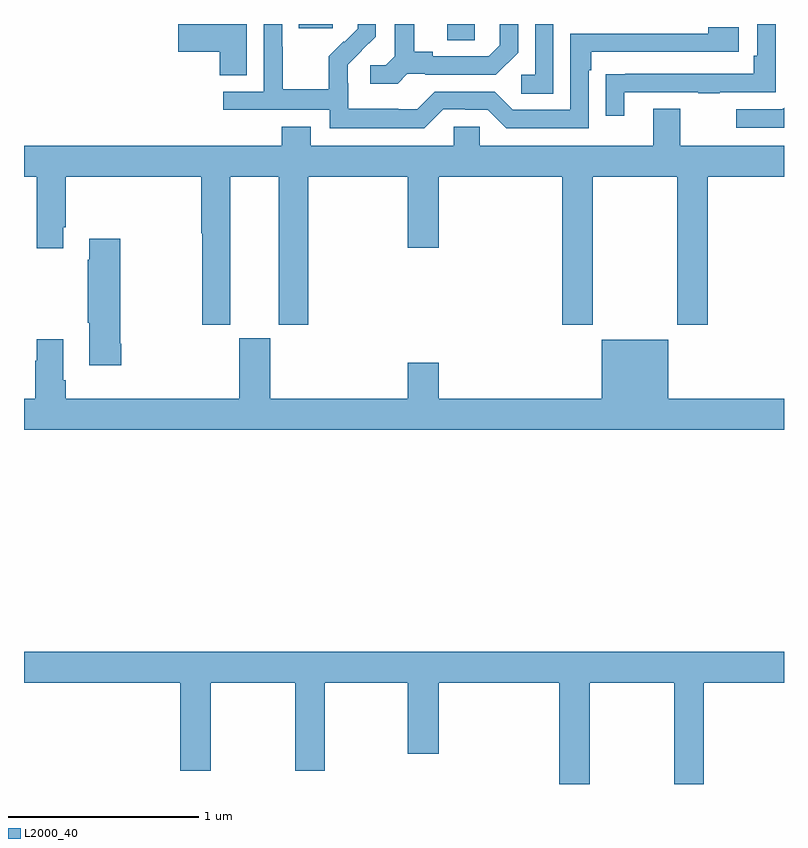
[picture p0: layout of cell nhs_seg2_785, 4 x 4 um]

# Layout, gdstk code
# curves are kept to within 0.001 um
import gdstk
lib = gdstk.Library(unit=1e-6, precision=1e-09)
def R(c, l, rs):  # rectangles x0, y0, x1, y1
    for r in rs: c.add(gdstk.rectangle(r[:2], r[2:], *l))
def P(c, l, *ps):  # polygons
    for p in ps: c.add(gdstk.Polygon(p, *l))
L2000_40 = (2000, 40)

nhs_seg2_785 = lib.new_cell('nhs_seg2_785')
R(nhs_seg2_785, L2000_40, [(153.227,621.715,153.372,621.8), (152.447,621.777,152.626,621.8)])
P(nhs_seg2_785, L2000_40, [(153.018,621.537),(153.112,621.537),(153.112,621.534),(153.484,621.534),(153.6,621.65),(153.6,621.8),(153.503,621.8),(153.503,621.687),(153.446,621.63),(153.151,621.63),(153.151,621.653),(153.055,621.653),(153.055,621.8),(152.951,621.8),(152.951,621.629),(152.904,621.582),(152.823,621.582),(152.823,621.485),(152.966,621.485)],
  [(153.207,621.351),(153.323,621.351),(153.323,621.348),(153.441,621.348),(153.537,621.252),(153.972,621.252),(153.972,621.557),(153.985,621.557),(153.985,621.654),(154.762,621.654),(154.762,621.784),(154.601,621.784),(154.601,621.75),(153.876,621.75),(153.876,621.348),(153.573,621.348),(153.477,621.444),(153.162,621.444),(153.069,621.351),(152.969,621.351),(152.969,621.355),(152.706,621.355),(152.706,621.489),(152.704,621.489),(152.704,621.586),(152.85,621.734),(152.85,621.8),(152.756,621.8),(152.756,621.776),(152.685,621.705),(152.682,621.708),(152.605,621.631),(152.605,621.457),(152.361,621.457),(152.361,621.68),(152.358,621.68),(152.358,621.8),(152.262,621.8),(152.262,621.444),(152.049,621.444),(152.049,621.348),(152.61,621.348),(152.61,621.251),(153.107,621.251)],
  [(154.159,621.441),(154.549,621.441),(154.549,621.436),(154.661,621.436),(154.661,621.441),(154.956,621.441),(154.956,621.8),(154.86,621.8),(154.86,621.634),(154.84,621.634),(154.84,621.537),(154.165,621.537),(154.165,621.536),(154.063,621.536),(154.063,621.318),(154.159,621.318)],
  [(153.786,621.8),(153.69,621.8),(153.69,621.534),(153.618,621.534),(153.618,621.433),(153.786,621.433)],
  [(152.173,621.8),(151.812,621.8),(151.812,621.653),(152.03,621.653),(152.03,621.529),(152.173,621.529)],
  [(155,621.359),(154.992,621.351),(154.749,621.351),(154.749,621.255),(155,621.255)],
  [(153.833,620.217),(153.993,620.217),(153.993,620.996),(154.438,620.996),(154.438,620.217),(154.598,620.217),(154.598,620.996),(155,620.996),(155,621.16),(154.453,621.16),(154.453,621.355),(154.313,621.355),(154.313,621.16),(153.399,621.16),(153.399,621.258),(153.261,621.258),(153.261,621.16),(152.509,621.16),(152.509,621.259),(152.357,621.259),(152.357,621.16),(151,621.16),(151,620.996),(151.067,620.996),(151.067,620.619),(151.207,620.619),(151.207,620.731),(151.22,620.731),(151.22,620.996),(151.934,620.996),(151.934,620.7),(151.939,620.7),(151.939,620.217),(152.086,620.217),(152.086,620.996),(152.342,620.996),(152.342,620.217),(152.495,620.217),(152.495,620.996),(153.02,620.996),(153.02,620.622),(153.184,620.622),(153.184,620.996),(153.833,620.996)],
  [(151.511,620.116),(151.506,620.116),(151.506,620.671),(151.343,620.671),(151.343,620.558),(151.336,620.558),(151.336,620.227),(151.343,620.227),(151.343,620.004),(151.511,620.004)],
  [(155,619.828),(154.39,619.828),(154.39,620.137),(154.04,620.137),(154.04,619.828),(153.184,619.828),(153.184,620.017),(153.02,620.017),(153.02,619.828),(152.296,619.828),(152.296,620.145),(152.132,620.145),(152.132,619.828),(151.22,619.828),(151.22,619.924),(151.207,619.924),(151.207,620.14),(151.067,620.14),(151.067,620.027),(151.06,620.027),(151.06,619.828),(151,619.828),(151,619.664),(155,619.664)],
  [(151,618.332),(151.823,618.332),(151.823,617.871),(151.983,617.871),(151.983,618.332),(152.428,618.332),(152.428,617.871),(152.583,617.871),(152.583,618.332),(153.02,618.332),(153.02,617.958),(153.184,617.958),(153.184,618.332),(153.818,618.332),(153.818,617.8),(153.978,617.8),(153.978,618.332),(154.423,618.332),(154.423,617.8),(154.578,617.8),(154.578,618.332),(155,618.332),(155,618.496),(151,618.496)])

lib.write_gds('nhs_seg2_785.gds')
